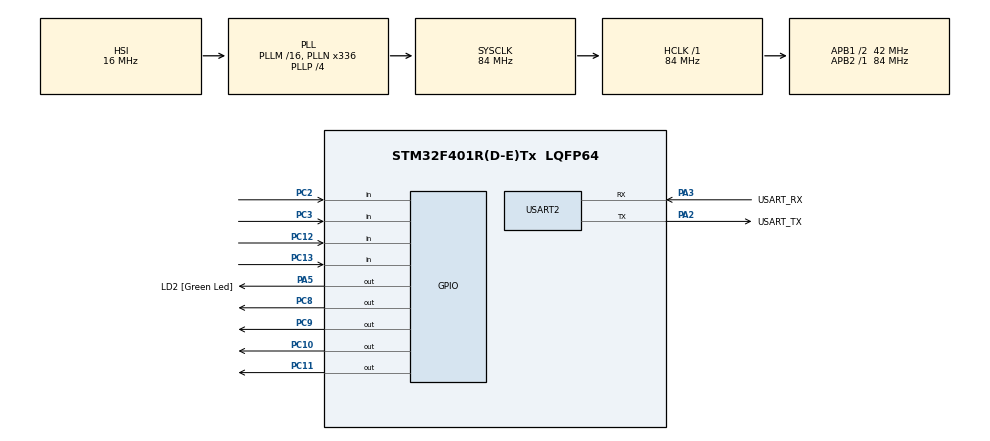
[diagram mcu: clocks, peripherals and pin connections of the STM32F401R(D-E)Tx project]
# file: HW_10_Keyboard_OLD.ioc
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Mcu.Family=STM32F4
Mcu.Name=STM32F401R(D-E)Tx
Mcu.Package=LQFP64
NVIC.PriorityGroup=NVIC_PRIORITYGROUP_0
NVIC.TIM2_IRQn=true\:0\:0\:false\:false\:true\:true\:true\:true
PA13.GPIO_Label=TMS
PA13.Mode=Serial_Wire
PA13.Signal=SYS_JTMS-SWDIO
PA14.GPIO_Label=TCK
PA14.Mode=Serial_Wire
PA14.Signal=SYS_JTCK-SWCLK
PA2.GPIO_Label=USART_TX
PA2.GPIO_Mode=GPIO_MODE_AF_PP
PA2.GPIO_PuPd=GPIO_NOPULL
PA2.GPIO_Speed=GPIO_SPEED_FREQ_LOW
PA2.Mode=Asynchronous
PA2.Signal=USART2_TX
PA3.GPIO_Label=USART_RX
PA3.GPIO_Mode=GPIO_MODE_AF_PP
PA3.GPIO_PuPd=GPIO_NOPULL
PA3.GPIO_Speed=GPIO_SPEED_FREQ_LOW
PA3.Mode=Asynchronous
PA3.Signal=USART2_RX
PA5.GPIO_Label=LD2 [Green Led]
PA5.GPIO_Mode=GPIO_MODE_OUTPUT_PP
PA5.GPIO_PuPd=GPIO_NOPULL
PA5.GPIO_Speed=GPIO_SPEED_FREQ_LOW
PA5.Signal=GPIO_Output
PB3.GPIO_Label=SWO
PB3.Signal=SYS_JTDO-SWO
PC10.Signal=GPIO_Output
PC11.Signal=GPIO_Output
PC12.Signal=GPIO_Input
PC13-ANTI_TAMP.Signal=GPIO_Input
PC14-OSC32_IN.Mode=LSE-External-Oscillator
PC14-OSC32_IN.Signal=RCC_OSC32_IN
PC15-OSC32_OUT.Mode=LSE-External-Oscillator
PC15-OSC32_OUT.Signal=RCC_OSC32_OUT
PC2.Signal=GPIO_Input
PC3.Signal=GPIO_Input
PC8.Signal=GPIO_Output
PC9.Signal=GPIO_Output
PH0\ -\ OSC_IN.Mode=HSE-External-Clock-Source
PH0\ -\ OSC_IN.Signal=RCC_OSC_IN
PH1\ -\ OSC_OUT.Mode=HSE-External-Clock-Source
PH1\ -\ OSC_OUT.Signal=RCC_OSC_OUT
ProjectManager.HeapSize=0x200
ProjectManager.StackSize=0x400
ProjectManager.TargetToolchain=STM32CubeIDE
RCC.48MHZClocksFreq_Value=48000000
RCC.AHBFreq_Value=84000000
RCC.APB1CLKDivider=RCC_HCLK_DIV2
RCC.APB1Freq_Value=42000000
RCC.APB1TimFreq_Value=84000000
RCC.APB2Freq_Value=84000000
RCC.APB2TimFreq_Value=84000000
RCC.CortexFreq_Value=84000000
RCC.HCLKFreq_Value=84000000
RCC.HSE_VALUE=8000000
RCC.HSI_VALUE=16000000
RCC.PLLN=336
RCC.PLLP=RCC_PLLP_DIV4
RCC.PLLQ=7
RCC.SYSCLKFreq_VALUE=84000000
RCC.SYSCLKSource=RCC_SYSCLKSOURCE_PLLCLK
RCC.VCOOutputFreq_Value=336000000
TIM2.Period=8400-1
TIM2.Prescaler=1000-1
TIM5.Period=84000-1
TIM5.Prescaler=1000-1
USART2.VirtualMode=VM_ASYNC
VP_TIM2_VS_ClockSourceINT.Mode=Internal
VP_TIM5_VS_ClockSourceINT.Mode=Internal
board=NUCLEO-F401RE

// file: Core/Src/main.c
/* USER CODE BEGIN Header */
/**
 ******************************************************************************
 * @file           : main.c
 * @brief          : Main program body
 ******************************************************************************
 * @attention
 *
 * Copyright (c) 2022 STMicroelectronics.
 * All rights reserved.
 *
 * This software is licensed under terms that can be found in the LICENSE file
 * in the root directory of this software component.
 * If no LICENSE file comes with this software, it is provided AS-IS.
 *
 ******************************************************************************
 */
/* USER CODE END Header */
#include "main.h"

/* USER CODE BEGIN PD */

#define PIN_C0 GPIOC, GPIO_PIN_11
#define PIN_C1 GPIOC, GPIO_PIN_10
#define PIN_C2 GPIOC, GPIO_PIN_9
#define PIN_C3 GPIOC, GPIO_PIN_8

#define PIN_R0 GPIOC, GPIO_PIN_3
#define PIN_R1 GPIOC, GPIO_PIN_2
#define PIN_R2 GPIOC, GPIO_PIN_13
#define PIN_R3 GPIOC, GPIO_PIN_12

/* USER CODE END PD */

TIM_HandleTypeDef htim2;
TIM_HandleTypeDef htim5;

UART_HandleTypeDef huart2;

/* USER CODE BEGIN PV */

int rows_flag = 0;
int column_index = 0;
int i;
int column_flag = 1;
int buttonpressed = 4;
int counter = 0;

char map[16] = "FB73EA62D951C840";	//keyboard map

uint32_t keypress[16];
uint32_t ack[16];

/* USER CODE END PV */

void SystemClock_Config(void);
static void MX_GPIO_Init(void);
static void MX_USART2_UART_Init(void);
static void MX_TIM2_Init(void);
static void MX_TIM5_Init(void);

/* USER CODE BEGIN 0 */

void HAL_TIM_PeriodElapsedCallback(TIM_HandleTypeDef *htim) {

	rows_flag = 1;
	HAL_TIM_Base_Stop_IT(&htim2); //stoppiamo il timer in attesa di altra lettura
}

/* USER CODE END 0 */

int main(void) {

	/* MCU Configuration--------------------------------------------------------*/

	/* Reset of all peripherals, Initializes the Flash interface and the Systick. */
	HAL_Init();

	/* Configure the system clock */
	SystemClock_Config();

	/* Initialize all configured peripherals */
	MX_GPIO_Init();
	MX_USART2_UART_Init();
	MX_TIM2_Init();
	MX_TIM5_Init();

	/* Infinite loop */
	/* USER CODE BEGIN WHILE */
	while (1) {
		if (column_index == 4) {
			column_index = 0;
		}

		while (column_index < 4) {
			if (column_flag == 1) {
				HAL_GPIO_WritePin(PIN_C0,
						(column_index == 0) ? GPIO_PIN_SET : GPIO_PIN_RESET);
				HAL_GPIO_WritePin(PIN_C1,
						(column_index == 1) ? GPIO_PIN_SET : GPIO_PIN_RESET);
				HAL_GPIO_WritePin(PIN_C2,
						(column_index == 2) ? GPIO_PIN_SET : GPIO_PIN_RESET);
				HAL_GPIO_WritePin(PIN_C3,
						(column_index == 3) ? GPIO_PIN_SET : GPIO_PIN_RESET);
				column_index++;
				column_flag = 0;
				HAL_TIM_Base_Start_IT(&htim2);
			}

			if (rows_flag == 1) {
				if (HAL_GPIO_ReadPin(PIN_R0) == GPIO_PIN_SET) {
					keypress[4 * column_index] = 0;
				} else {
					keypress[4 * column_index] = 1;
					HAL_TIM_Base_Start(&htim5);
					buttonpressed = 0;
				}

				if (HAL_GPIO_ReadPin(PIN_R1) == GPIO_PIN_SET) {
					keypress[4 * column_index + 1] = 0;
				} else {
					keypress[4 * column_index + 1] = 1;
					HAL_TIM_Base_Start(&htim5);
					buttonpressed = 1;
				}

				if (HAL_GPIO_ReadPin(PIN_R2) == GPIO_PIN_SET) {
					keypress[4 * column_index + 2] = 0;
				} else {
					keypress[4 * column_index + 2] = 1;
					HAL_TIM_Base_Start(&htim5);
					buttonpressed = 2;
				}

				if (HAL_GPIO_ReadPin(PIN_R3) == GPIO_PIN_SET) {
					keypress[4 * column_index + 3] = 0;
				} else {
					keypress[4 * column_index + 3] = 1;
					HAL_TIM_Base_Start(&htim5);
					buttonpressed = 3;
				}

				//controlliamo se il bottone è stato premuto e il pulsante mollato dopo
				if ((buttonpressed == 0)
						&& ((HAL_GPIO_ReadPin(PIN_R0) == GPIO_PIN_SET))) {
					counter = __HAL_TIM_GetCounter(&htim5);
					HAL_TIM_Base_Stop(&htim5);
				}
				if ((buttonpressed == 1)
						&& ((HAL_GPIO_ReadPin(PIN_R0) == GPIO_PIN_SET))) {
					counter = __HAL_TIM_GetCounter(&htim5);
					HAL_TIM_Base_Stop(&htim5);
				}
				if ((buttonpressed == 2)
						&& ((HAL_GPIO_ReadPin(PIN_R0) == GPIO_PIN_SET))) {
					counter = __HAL_TIM_GetCounter(&htim5);
					HAL_TIM_Base_Stop(&htim5);
				}
				if ((buttonpressed == 3)
						&& ((HAL_GPIO_ReadPin(PIN_R0) == GPIO_PIN_SET))) {
					counter = __HAL_TIM_GetCounter(&htim5);
					HAL_TIM_Base_Stop(&htim5);
				}

				buttonpressed = 4; //mettiamo la variabie in modo entri negli if a meno che non sia stato premuto

				if (counter > 42000 - 1) {
					for (i = 0; i < 16; i++) {
						if (keypress[i] == 1) {
							if (ack[i] == 0) {
								HAL_UART_Transmit(&huart2, &map[i], 1, 10);
								ack[i] = 1;
							}
						} else {
							ack[i] = 0;
						}
					}
				}

				counter = 0;
				column_flag = 1;
				rows_flag = 0;
			}
		}

		/* USER CODE END WHILE */

	}
}

void SystemClock_Config(void) {
	RCC_OscInitTypeDef RCC_OscInitStruct = { 0 };
	RCC_ClkInitTypeDef RCC_ClkInitStruct = { 0 };

	/** Configure the main internal regulator output voltage
	 */
	__HAL_RCC_PWR_CLK_ENABLE();
	__HAL_PWR_VOLTAGESCALING_CONFIG(PWR_REGULATOR_VOLTAGE_SCALE2);

	/** Initializes the RCC Oscillators according to the specified parameters
	 * in the RCC_OscInitTypeDef structure.
	 */
	RCC_OscInitStruct.OscillatorType = RCC_OSCILLATORTYPE_HSI;
	RCC_OscInitStruct.HSIState = RCC_HSI_ON;
	RCC_OscInitStruct.HSICalibrationValue = RCC_HSICALIBRATION_DEFAULT;
	RCC_OscInitStruct.PLL.PLLState = RCC_PLL_ON;
	RCC_OscInitStruct.PLL.PLLSource = RCC_PLLSOURCE_HSI;
	RCC_OscInitStruct.PLL.PLLM = 16;
	RCC_OscInitStruct.PLL.PLLN = 336;
	RCC_OscInitStruct.PLL.PLLP = RCC_PLLP_DIV4;
	RCC_OscInitStruct.PLL.PLLQ = 7;
	if (HAL_RCC_OscConfig(&RCC_OscInitStruct) != HAL_OK) {
		Error_Handler();
	}

	/** Initializes the CPU, AHB and APB buses clocks
	 */
	RCC_ClkInitStruct.ClockType = RCC_CLOCKTYPE_HCLK | RCC_CLOCKTYPE_SYSCLK
			| RCC_CLOCKTYPE_PCLK1 | RCC_CLOCKTYPE_PCLK2;
	RCC_ClkInitStruct.SYSCLKSource = RCC_SYSCLKSOURCE_PLLCLK;
	RCC_ClkInitStruct.AHBCLKDivider = RCC_SYSCLK_DIV1;
	RCC_ClkInitStruct.APB1CLKDivider = RCC_HCLK_DIV2;
	RCC_ClkInitStruct.APB2CLKDivider = RCC_HCLK_DIV1;

	if (HAL_RCC_ClockConfig(&RCC_ClkInitStruct, FLASH_LATENCY_2) != HAL_OK) {
		Error_Handler();
	}
}

static void MX_TIM2_Init(void) {

	TIM_ClockConfigTypeDef sClockSourceConfig = { 0 };
	TIM_MasterConfigTypeDef sMasterConfig = { 0 };

	htim2.Instance = TIM2;
	htim2.Init.Prescaler = 1000 - 1;
	htim2.Init.CounterMode = TIM_COUNTERMODE_UP;
	htim2.Init.Period = 8400 - 1;
	htim2.Init.ClockDivision = TIM_CLOCKDIVISION_DIV1;
	htim2.Init.AutoReloadPreload = TIM_AUTORELOAD_PRELOAD_DISABLE;
	if (HAL_TIM_Base_Init(&htim2) != HAL_OK) {
		Error_Handler();
	}
	sClockSourceConfig.ClockSource = TIM_CLOCKSOURCE_INTERNAL;
	if (HAL_TIM_ConfigClockSource(&htim2, &sClockSourceConfig) != HAL_OK) {
		Error_Handler();
	}
	sMasterConfig.MasterOutputTrigger = TIM_TRGO_RESET;
	sMasterConfig.MasterSlaveMode = TIM_MASTERSLAVEMODE_DISABLE;
	if (HAL_TIMEx_MasterConfigSynchronization(&htim2, &sMasterConfig)
			!= HAL_OK) {
		Error_Handler();
	}

}

static void MX_TIM5_Init(void) {

	TIM_ClockConfigTypeDef sClockSourceConfig = { 0 };
	TIM_MasterConfigTypeDef sMasterConfig = { 0 };

	htim5.Instance = TIM5;
	htim5.Init.Prescaler = 1000 - 1;
	htim5.Init.CounterMode = TIM_COUNTERMODE_UP;
	htim5.Init.Period = 84000 - 1;
	htim5.Init.ClockDivision = TIM_CLOCKDIVISION_DIV1;
	htim5.Init.AutoReloadPreload = TIM_AUTORELOAD_PRELOAD_DISABLE;
	if (HAL_TIM_Base_Init(&htim5) != HAL_OK) {
		Error_Handler();
	}
	sClockSourceConfig.ClockSource = TIM_CLOCKSOURCE_INTERNAL;
	if (HAL_TIM_ConfigClockSource(&htim5, &sClockSourceConfig) != HAL_OK) {
		Error_Handler();
	}
	sMasterConfig.MasterOutputTrigger = TIM_TRGO_RESET;
	sMasterConfig.MasterSlaveMode = TIM_MASTERSLAVEMODE_DISABLE;
	if (HAL_TIMEx_MasterConfigSynchronization(&htim5, &sMasterConfig)
			!= HAL_OK) {
		Error_Handler();
	}

}

static void MX_USART2_UART_Init(void) {

	huart2.Instance = USART2;
	huart2.Init.BaudRate = 115200;
	huart2.Init.WordLength = UART_WORDLENGTH_8B;
	huart2.Init.StopBits = UART_STOPBITS_1;
	huart2.Init.Parity = UART_PARITY_NONE;
	huart2.Init.Mode = UART_MODE_TX_RX;
	huart2.Init.HwFlowCtl = UART_HWCONTROL_NONE;
	huart2.Init.OverSampling = UART_OVERSAMPLING_16;
	if (HAL_UART_Init(&huart2) != HAL_OK) {
		Error_Handler();
	}

}

static void MX_GPIO_Init(void) {
	GPIO_InitTypeDef GPIO_InitStruct = { 0 };

	/* GPIO Ports Clock Enable */
	__HAL_RCC_GPIOC_CLK_ENABLE();
	__HAL_RCC_GPIOH_CLK_ENABLE();
	__HAL_RCC_GPIOA_CLK_ENABLE();
	__HAL_RCC_GPIOB_CLK_ENABLE();

	/*Configure GPIO pin Output Level */
	HAL_GPIO_WritePin(LD2_GPIO_Port, LD2_Pin, GPIO_PIN_RESET);

	/*Configure GPIO pin Output Level */
	HAL_GPIO_WritePin(GPIOC,
			GPIO_PIN_8 | GPIO_PIN_9 | GPIO_PIN_10 | GPIO_PIN_11,
			GPIO_PIN_RESET);

	/*Configure GPIO pins : PC13 PC2 PC3 PC12 */
	GPIO_InitStruct.Pin = GPIO_PIN_13 | GPIO_PIN_2 | GPIO_PIN_3 | GPIO_PIN_12;
	GPIO_InitStruct.Mode = GPIO_MODE_INPUT;
	GPIO_InitStruct.Pull = GPIO_NOPULL;
	HAL_GPIO_Init(GPIOC, &GPIO_InitStruct);

	/*Configure GPIO pin : LD2_Pin */
	GPIO_InitStruct.Pin = LD2_Pin;
	GPIO_InitStruct.Mode = GPIO_MODE_OUTPUT_PP;
	GPIO_InitStruct.Pull = GPIO_NOPULL;
	GPIO_InitStruct.Speed = GPIO_SPEED_FREQ_LOW;
	HAL_GPIO_Init(LD2_GPIO_Port, &GPIO_InitStruct);

	/*Configure GPIO pins : PC8 PC9 PC10 PC11 */
	GPIO_InitStruct.Pin = GPIO_PIN_8 | GPIO_PIN_9 | GPIO_PIN_10 | GPIO_PIN_11;
	GPIO_InitStruct.Mode = GPIO_MODE_OUTPUT_PP;
	GPIO_InitStruct.Pull = GPIO_NOPULL;
	GPIO_InitStruct.Speed = GPIO_SPEED_FREQ_LOW;
	HAL_GPIO_Init(GPIOC, &GPIO_InitStruct);

}

void Error_Handler(void) {
	__disable_irq();
	while (1) {
	}
}
